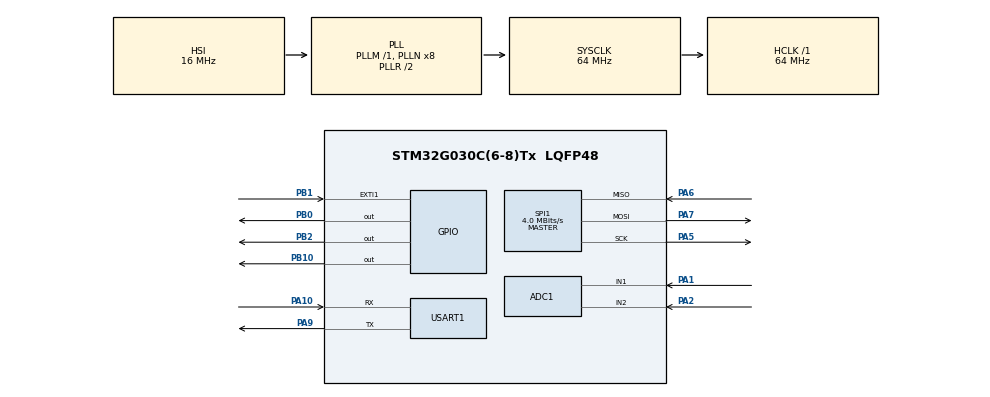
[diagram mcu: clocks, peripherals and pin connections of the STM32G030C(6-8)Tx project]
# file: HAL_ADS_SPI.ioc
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ADC1.Channel-3\#ChannelRegularConversion=ADC_CHANNEL_1
ADC1.NbrOfConversionFlag=1
ADC1.Rank-3\#ChannelRegularConversion=1
ADC1.SamplingTime-3\#ChannelRegularConversion=ADC_SAMPLINGTIME_COMMON_1
ADC1.SelectedChannel=ADC_CHANNEL_1|ADC_CHANNEL_2
ADC1.master=1
Dma.Request0=USART1_TX
Dma.USART1_TX.0.Direction=DMA_MEMORY_TO_PERIPH
Dma.USART1_TX.0.EventEnable=DISABLE
Dma.USART1_TX.0.Instance=DMA1_Channel1
Dma.USART1_TX.0.MemDataAlignment=DMA_MDATAALIGN_BYTE
Dma.USART1_TX.0.MemInc=DMA_MINC_ENABLE
Dma.USART1_TX.0.Mode=DMA_NORMAL
Dma.USART1_TX.0.PeriphDataAlignment=DMA_PDATAALIGN_BYTE
Dma.USART1_TX.0.PeriphInc=DMA_PINC_DISABLE
Dma.USART1_TX.0.Polarity=HAL_DMAMUX_REQ_GEN_RISING
Dma.USART1_TX.0.Priority=DMA_PRIORITY_LOW
Dma.USART1_TX.0.RequestNumber=1
Dma.USART1_TX.0.SignalID=NONE
Dma.USART1_TX.0.SyncEnable=DISABLE
Dma.USART1_TX.0.SyncPolarity=HAL_DMAMUX_SYNC_NO_EVENT
Dma.USART1_TX.0.SyncRequestNumber=1
Dma.USART1_TX.0.SyncSignalID=NONE
Mcu.Family=STM32G0
Mcu.Name=STM32G030C(6-8)Tx
Mcu.Package=LQFP48
NVIC.DMA1_Channel1_IRQn=true\:0\:0\:false\:false\:true\:false\:true\:true
NVIC.EXTI0_1_IRQn=true\:1\:0\:true\:false\:true\:true\:true\:true
NVIC.USART1_IRQn=true\:0\:0\:false\:false\:true\:true\:true\:true
PA1.Mode=IN1
PA1.Signal=ADC1_IN1
PA10.Mode=Asynchronous
PA10.Signal=USART1_RX
PA13.Mode=Serial_Wire
PA13.Signal=SYS_SWDIO
PA14-BOOT0.Mode=Serial_Wire
PA14-BOOT0.Signal=SYS_SWCLK
PA2.Mode=IN2
PA2.Signal=ADC1_IN2
PA5.Mode=Full_Duplex_Master
PA5.Signal=SPI1_SCK
PA6.Mode=Full_Duplex_Master
PA6.Signal=SPI1_MISO
PA7.Mode=Full_Duplex_Master
PA7.Signal=SPI1_MOSI
PA9.Mode=Asynchronous
PA9.Signal=USART1_TX
PB0.GPIO_Speed=GPIO_SPEED_FREQ_HIGH
PB0.PinState=GPIO_PIN_SET
PB0.Signal=GPIO_Output
PB1.GPIO_ModeDefaultEXTI=GPIO_MODE_IT_FALLING
PB1.Signal=GPXTI1
PB10.PinState=GPIO_PIN_SET
PB10.Signal=GPIO_Output
PB2.PinState=GPIO_PIN_RESET
PB2.Signal=GPIO_Output
PF0-OSC_IN\ (PF0).Mode=HSE-External-Clock-Source
PF0-OSC_IN\ (PF0).Signal=RCC_OSC_IN
ProjectManager.HeapSize=0x200
ProjectManager.StackSize=0x400
ProjectManager.TargetToolchain=MDK-ARM V5.32
RCC.ADCFreq_Value=64000000
RCC.AHBFreq_Value=64000000
RCC.CortexFreq_Value=64000000
RCC.EXTERNAL_CLOCK_VALUE=12288000
RCC.HCLKFreq_Value=64000000
RCC.HSE_VALUE=8000000
RCC.HSI_VALUE=16000000
RCC.LSE_VALUE=32768
RCC.SYSCLKFreq_VALUE=64000000
RCC.SYSCLKSource=RCC_SYSCLKSOURCE_PLLCLK
RCC.VCOOutputFreq_Value=128000000
SPI1.BaudRatePrescaler=SPI_BAUDRATEPRESCALER_16
SPI1.CLKPhase=SPI_PHASE_2EDGE
SPI1.CalculateBaudRate=4.0 MBits/s
SPI1.Direction=SPI_DIRECTION_2LINES
SPI1.Mode=SPI_MODE_MASTER
SPI1.VirtualType=VM_MASTER
USART1.VirtualMode-Asynchronous=VM_ASYNC
board=custom

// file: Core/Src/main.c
/* USER CODE BEGIN Header */
/**
  ******************************************************************************
  * @file           : main.c
  * @brief          : Main program body
  ******************************************************************************
  * @attention
  *
  * Copyright (c) 2026 STMicroelectronics.
  * All rights reserved.
  *
  * This software is licensed under terms that can be found in the LICENSE file
  * in the root directory of this software component.
  * If no LICENSE file comes with this software, it is provided AS-IS.
  *
  ******************************************************************************
  */
/* USER CODE END Header */
#include "main.h"
#include "adc.h"
#include "dma.h"
#include "spi.h"
#include "usart.h"
#include "gpio.h"

/* USER CODE BEGIN Includes */
#include "bsp_ads1292.h"
#include "bsp_usart_dma.h"
/* USER CODE END Includes */

/* USER CODE BEGIN PV */
volatile uint8_t g_ads1292_data_ready = 0; // 新数数据就绪标志
/* USER CODE END PV */

void SystemClock_Config(void);

int main(void)
{

  /* MCU Configuration--------------------------------------------------------*/

  /* Reset of all peripherals, Initializes the Flash interface and the Systick. */
  HAL_Init();

  /* Configure the system clock */
  SystemClock_Config();

  /* Initialize all configured peripherals */
  MX_GPIO_Init();
  MX_DMA_Init();
  MX_ADC1_Init();
  MX_SPI1_Init();
  MX_USART1_UART_Init();
  /* USER CODE BEGIN 2 */
  // 始化 ADS1292
    ADS1292_Init_Config();
    volatile uint8_t device_id =ADS1292_Read_Register(0x00); // 0x00 是 ID 寄存器的地址;
		// 诊断：回读关键寄存器，用调试器或串口打印
    volatile uint8_t reg_config1 = ADS1292_Read_Register(0x01);  // 应为 0x02
    volatile uint8_t reg_config2 = ADS1292_Read_Register(0x02);  // 应为 0xA0
    volatile uint8_t reg_rld     = ADS1292_Read_Register(0x06);  // 应为 0x23
  // 启动连续采集并读取
    ADS1292_Start_Continuous_Conversion();
  /* USER CODE END 2 */

  /* Infinite loop */
  /* USER CODE BEGIN WHILE */
    int32_t ecg_data = 0;
    int32_t resp_data = 0;
  while (1)
  {
    /* USER CODE END WHILE */

    /* USER CODE BEGIN 3 */
    if (g_ads1292_data_ready) {
        g_ads1292_data_ready = 0;
        ADS1292_Read_ECG_Data(&ecg_data, &resp_data);
        ecg_data = Notch_Filter(ecg_data);                  // IIR 50Hz陷波 (-43dB)
        ecg_data = HPF_DCBlock(ecg_data);                   // 0.6Hz高通去基线漂移
        ecg_data = FIR_LPF_Filter(ecg_data);                // 51-tap FIR线性相位低通 (50Hz合计-83dB)
        Send_Data(ecg_data, resp_data);
    }
  }
  /* USER CODE END 3 */
}

void SystemClock_Config(void)
{
  RCC_OscInitTypeDef RCC_OscInitStruct = {0};
  RCC_ClkInitTypeDef RCC_ClkInitStruct = {0};

  /** Configure the main internal regulator output voltage
  */
  HAL_PWREx_ControlVoltageScaling(PWR_REGULATOR_VOLTAGE_SCALE1);

  /** Initializes the RCC Oscillators according to the specified parameters
  * in the RCC_OscInitTypeDef structure.
  */
  RCC_OscInitStruct.OscillatorType = RCC_OSCILLATORTYPE_HSI;
  RCC_OscInitStruct.HSIState = RCC_HSI_ON;
  RCC_OscInitStruct.HSIDiv = RCC_HSI_DIV1;
  RCC_OscInitStruct.HSICalibrationValue = RCC_HSICALIBRATION_DEFAULT;
  RCC_OscInitStruct.PLL.PLLState = RCC_PLL_ON;
  RCC_OscInitStruct.PLL.PLLSource = RCC_PLLSOURCE_HSI;
  RCC_OscInitStruct.PLL.PLLM = RCC_PLLM_DIV1;
  RCC_OscInitStruct.PLL.PLLN = 8;
  RCC_OscInitStruct.PLL.PLLP = RCC_PLLP_DIV2;
  RCC_OscInitStruct.PLL.PLLR = RCC_PLLR_DIV2;
  if (HAL_RCC_OscConfig(&RCC_OscInitStruct) != HAL_OK)
  {
    Error_Handler();
  }

  /** Initializes the CPU, AHB and APB buses clocks
  */
  RCC_ClkInitStruct.ClockType = RCC_CLOCKTYPE_HCLK|RCC_CLOCKTYPE_SYSCLK
                              |RCC_CLOCKTYPE_PCLK1;
  RCC_ClkInitStruct.SYSCLKSource = RCC_SYSCLKSOURCE_PLLCLK;
  RCC_ClkInitStruct.AHBCLKDivider = RCC_SYSCLK_DIV1;
  RCC_ClkInitStruct.APB1CLKDivider = RCC_HCLK_DIV1;

  if (HAL_RCC_ClockConfig(&RCC_ClkInitStruct, FLASH_LATENCY_2) != HAL_OK)
  {
    Error_Handler();
  }
}

/* USER CODE BEGIN 4 */
// DRDY 下沿中断回调（STM32G0 HAL 使用 Falling/Rising 回调，是 EXTI_Callback）
void HAL_GPIO_EXTI_Falling_Callback(uint16_t GPIO_Pin) {
    if (GPIO_Pin == ADS1292_DRDY_PIN) {
        g_ads1292_data_ready = 1;
    }
}
/* USER CODE END 4 */

void Error_Handler(void)
{
  __disable_irq();
  while (1)
  {
  }
}
